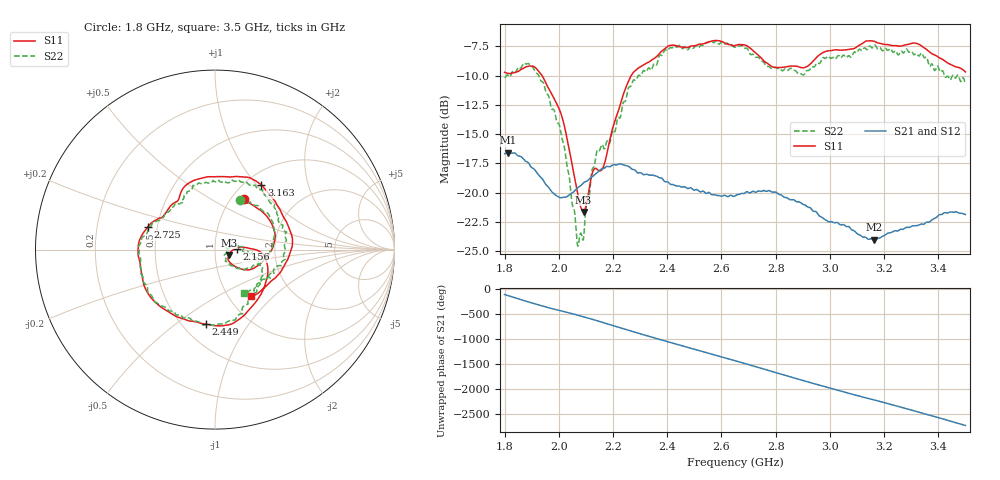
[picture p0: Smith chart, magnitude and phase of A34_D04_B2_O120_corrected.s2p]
! Created with skrf 1.9.0 (http://scikit-rf.org).
# Hz S RI R 50.0
!freq ReS11 ImS11 ReS21 ImS21 ReS12 ImS12 ReS22 ImS22
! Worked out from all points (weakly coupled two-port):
!   1601 points, 1.8 GHz to 3.5 GHz, reference 50 ohm
!   highest |S21| = -16.57 dB at 1.813 GHz (marker M1); lowest = -24.0 dB at 3.163 GHz (marker M2)
!   lowest |S11| = -21.6 dB at 2.091 GHz (marker M3), VSWR 1.18, Z = 58.2 - j3.55 ohm
!   |S11| at or under -10 dB: 1.938 GHz to 2.267 GHz (329.3 MHz wide, 15.7 % of centre)
!   |S22| runs from -24.6 to -7.0 dB; largest |S21 - S12| = 0.0024
!   S11 on the Smith chart (normalised r, x): 1.8 GHz: 1.14, +0.72; 2.156 GHz: 1.28, +0.01; 2.449 GHz: 0.65, -0.65; 2.725 GHz: 0.44, +0.13; 3.163 GHz: 1.18, +1.06; 3.5 GHz: 1.26, -0.73
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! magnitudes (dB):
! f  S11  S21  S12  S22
! 1.8 GHz  -9.7  -16.7  -16.7  -10.2
! 1.813 GHz  -9.8  -16.6  -16.6  -10.0
! 1.882 GHz  -9.2  -17.4  -17.4  -9.0
! 1.942 GHz  -10.2  -18.9  -18.9  -10.6
! 2.013 GHz  -13.6  -20.4  -20.4  -15.4
! 2.068 GHz  -19.9  -19.6  -19.6  -24.3
! 2.084 GHz  -21.4  -19.3  -19.3  -23.6
! 2.091 GHz  -21.6  -19.2  -19.2  -23.9
! 2.126 GHz  -18.2  -18.6  -18.6  -17.9
! 2.156 GHz  -18.1  -18.0  -18.0  -16.0
! 2.189 GHz  -15.4  -17.8  -17.8  -15.7
! 2.262 GHz  -10.2  -17.8  -17.8  -10.9
! 2.367 GHz  -8.2  -18.7  -18.6  -8.5
! 2.449 GHz  -7.6  -19.5  -19.5  -7.5
! 2.65 GHz  -7.4  -20.3  -20.2  -7.6
! 2.725 GHz  -8.1  -20.0  -19.9  -8.4
! 2.797 GHz  -9.3  -19.9  -19.9  -9.3
! 2.934 GHz  -8.9  -21.4  -21.4  -9.3
! 3.163 GHz  -7.1  -24.0  -23.9  -7.4
! 3.217 GHz  -7.4  -23.4  -23.4  -7.8
! 3.324 GHz  -7.3  -22.8  -22.8  -8.2
! 3.5 GHz  -9.7  -21.9  -21.8  -10.7
